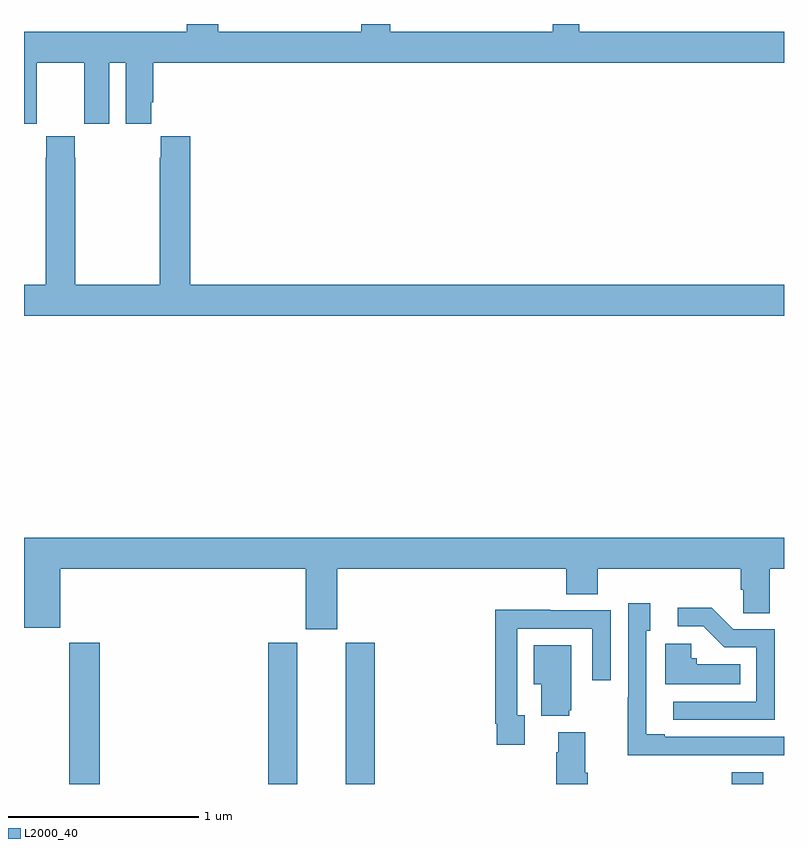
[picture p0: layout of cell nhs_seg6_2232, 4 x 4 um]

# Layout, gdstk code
import gdstk
lib = gdstk.Library(unit=1e-6, precision=1e-09)
def R(c, l, rs):  # rectangles x0, y0, x1, y1
    for r in rs: c.add(gdstk.rectangle(r[:2], r[2:], *l))
def P(c, l, *ps):  # polygons
    for p in ps: c.add(gdstk.Polygon(p, *l))
L2000_40 = (2000, 40)

nhs_seg6_2232 = lib.new_cell('nhs_seg6_2232')
R(nhs_seg6_2232, L2000_40, [(243.238,983.5,243.398,984.244), (244.286,983.5,244.438,984.243), (244.694,983.5,244.847,984.243), (246.725,983.5,246.89,983.563)])
P(nhs_seg6_2232, L2000_40, [(247,987.46),(245.922,987.46),(245.922,987.5),(245.783,987.5),(245.783,987.46),(244.927,987.46),(244.927,987.5),(244.775,987.5),(244.775,987.46),(244.022,987.46),(244.022,987.5),(243.857,987.5),(243.857,987.46),(243,987.46),(243,986.976),(243.066,986.976),(243.066,987.088),(243.067,987.088),(243.067,987.296),(243.317,987.296),(243.317,987.088),(243.318,987.088),(243.318,986.976),(243.448,986.976),(243.448,987.296),(243.536,987.296),(243.536,986.976),(243.67,986.976),(243.67,987.088),(243.68,987.088),(243.68,987.296),(247,987.296)],
  [(247,986.128),(243.875,986.128),(243.875,986.908),(243.721,986.908),(243.721,986.795),(243.715,986.795),(243.715,986.128),(243.27,986.128),(243.27,986.795),(243.267,986.795),(243.267,986.908),(243.117,986.908),(243.117,986.795),(243.115,986.795),(243.115,986.128),(243,986.128),(243,985.964),(247,985.964)],
  [(244.648,984.632),(245.855,984.632),(245.855,984.499),(246.02,984.499),(246.02,984.632),(246.773,984.632),(246.773,984.523),(246.786,984.523),(246.786,984.4),(246.925,984.4),(246.925,984.632),(247,984.632),(247,984.796),(243,984.796),(243,984.323),(243.19,984.323),(243.19,984.632),(244.484,984.632),(244.484,984.315),(244.648,984.315)],
  [(246.641,983.652),(247,983.652),(247,983.748),(246.373,983.748),(246.373,983.761),(246.276,983.761),(246.276,984.306),(246.295,984.306),(246.295,984.451),(246.18,984.451),(246.18,983.957),(246.178,983.957),(246.178,983.651),(246.641,983.651)],
  [(246.951,984.315),(246.732,984.315),(246.619,984.428),(246.441,984.428),(246.441,984.33),(246.575,984.33),(246.686,984.219),(246.855,984.219),(246.855,983.934),(246.417,983.934),(246.417,983.838),(246.951,983.838)],
  [(245.635,983.862),(245.595,983.862),(245.595,984.318),(245.991,984.318),(245.991,984.045),(246.087,984.045),(246.087,984.414),(245.771,984.414),(245.771,984.416),(245.479,984.416),(245.479,983.818),(245.487,983.818),(245.487,983.706),(245.635,983.706)],
  [(246.77,984.13),(246.54,984.13),(246.54,984.162),(246.513,984.162),(246.513,984.238),(246.374,984.238),(246.374,984.026),(246.77,984.026)],
  [(245.87,983.889),(245.881,983.889),(245.881,984.229),(245.684,984.229),(245.684,984.026),(245.723,984.026),(245.723,983.858),(245.87,983.858)],
  [(245.966,983.56),(245.953,983.56),(245.953,983.773),(245.813,983.773),(245.813,983.666),(245.801,983.666),(245.801,983.5),(245.966,983.5)])

lib.write_gds('nhs_seg6_2232.gds')
